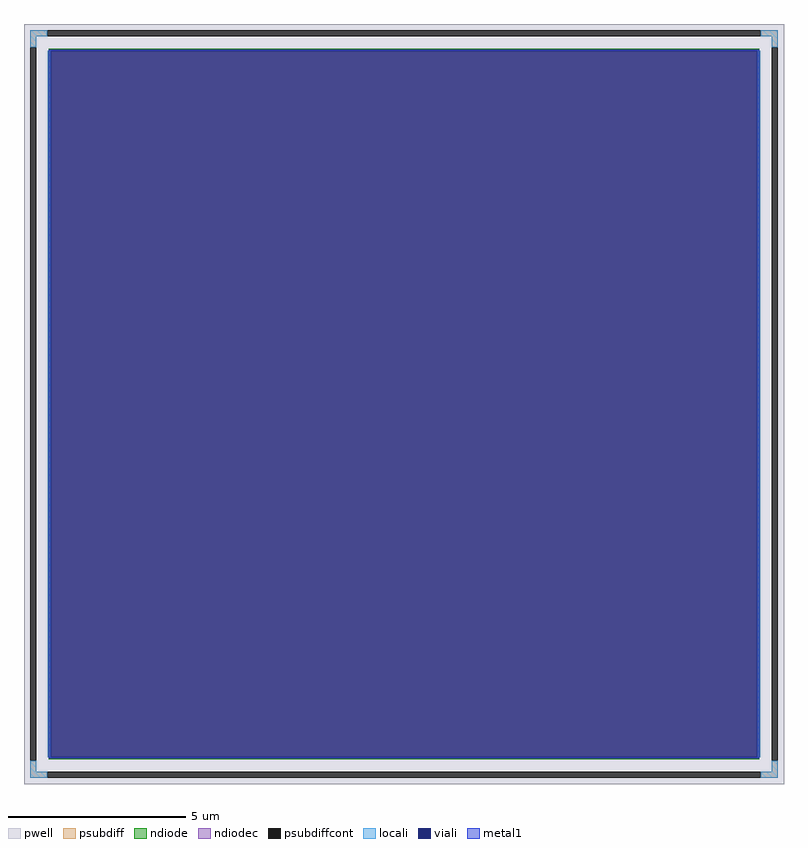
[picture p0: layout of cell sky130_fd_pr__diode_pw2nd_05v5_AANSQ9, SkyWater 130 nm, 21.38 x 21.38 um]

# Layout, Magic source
magic
tech sky130B
<< pwell >>
rect -1069 -1069 1069 1069
<< psubdiff >>
rect -1051 1034 -1003 1051
rect 1003 1034 1051 1051
rect -1051 1003 -1034 1034
rect 1034 1003 1051 1034
rect -1051 -1034 -1034 -1003
rect 1034 -1034 1051 -1003
rect -1051 -1051 -1003 -1034
rect 1003 -1051 1051 -1034
<< psubdiffcont >>
rect -1003 1034 1003 1051
rect -1051 -1003 -1034 1003
rect 1034 -1003 1051 1003
rect -1003 -1051 1003 -1034
<< ndiode >>
rect -1000 994 1000 1000
rect -1000 -994 -994 994
rect 994 -994 1000 994
rect -1000 -1000 1000 -994
<< ndiodec >>
rect -994 -994 994 994
<< locali >>
rect -1051 1034 -1003 1051
rect 1003 1034 1051 1051
rect -1051 1003 -1034 1034
rect 1034 1003 1051 1034
rect -1002 -994 -994 994
rect 994 -994 1002 994
rect -1051 -1034 -1034 -1003
rect 1034 -1034 1051 -1003
rect -1051 -1051 -1003 -1034
rect 1003 -1051 1051 -1034
<< viali >>
rect -994 -994 994 994
<< metal1 >>
rect -1000 994 1000 997
rect -1000 -994 -994 994
rect 994 -994 1000 994
rect -1000 -997 1000 -994
<< properties >>
string FIXED_BBOX -1042 -1042 1042 1042
string gencell sky130_fd_pr__diode_pw2nd_05v5
string library sky130
string parameters w 20 l 20 area 400.0 peri 80.0 nx 1 ny 1 dummy 0 lmin 0.45 wmin 0.45 elc 1 erc 1 etc 1 ebc 1 doverlap 0 compatible {sky130_fd_pr__diode_pw2nd_05v5 sky130_fd_pr__diode_pw2nd_05v5_lvt  sky130_fd_pr__diode_pw2nd_05v5_nvt sky130_fd_pr__diode_pw2nd_11v0} full_metal 1 vias 1 viagb 0 viagt 0 viagl 0 viagr 0
<< end >>
